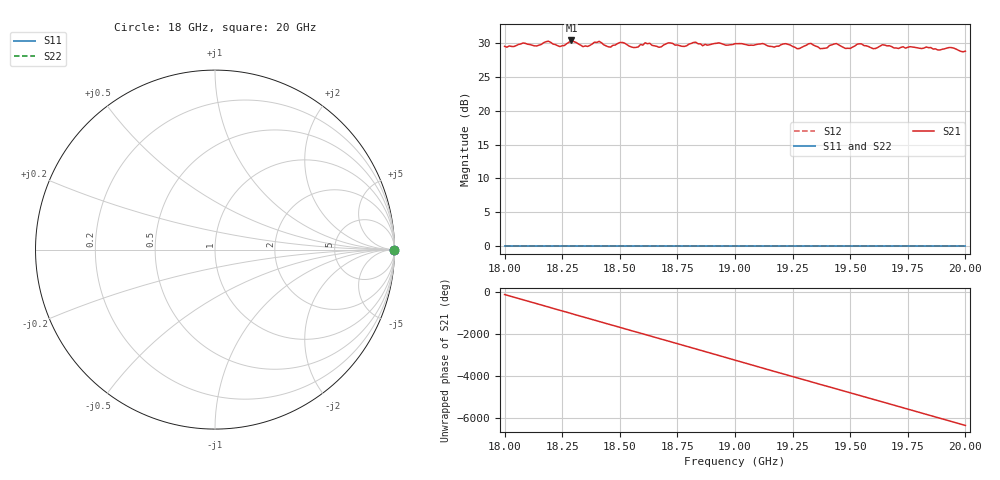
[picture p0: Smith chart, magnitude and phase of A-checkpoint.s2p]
!Agilent N9918A: A.07.57
!Date: Wednesday, 05 August 2020 17:34:18
!Timezone: (GMT-08:00) Pacific Time (US & Canada)
!Model: N9918A
!Serial: MY53103598
!GPS Latitude:
!GPS Longitude:
!GPS TimeStamp: 0001-01-01 00:00:00Z
!GPS Seconds Since Last Read: 0
!CHECKSUM:0372644096
!Correction: S11()S21(Rdy)S12()S22()
!S2P File: Measurements:S11,S21,S12,S22:
# Hz S DB R 50
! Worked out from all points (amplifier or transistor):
!   201 points, 18 GHz to 20 GHz, reference 50 ohm
!   highest |S21| = 30.4 dB at 18.29 GHz (marker M1)
!   |S21| within 3 dB of that: start of sweep to end of sweep
!   unconditionally stable (mu >= 1): nowhere
!   at 18.33 GHz: K = 14.86, MSG = 14.8 dB, |S12| = 0.0 dB
!   at 19 GHz: K = 14.65, MSG = 15.0 dB, |S12| = 0.0 dB
!   at 20 GHz: K = 13.91, MSG = 14.4 dB, |S12| = 0.0 dB
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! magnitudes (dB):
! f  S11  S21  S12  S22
! 18 GHz  0.0  29.5  0.0  0.0
! 18.19 GHz  0.0  30.3  0.0  0.0
! 18.24 GHz  0.0  29.5  0.0  0.0
! 18.29 GHz  0.0  30.4  0.0  0.0
! 18.34 GHz  0.0  29.5  0.0  0.0
! 18.41 GHz  0.0  30.2  0.0  0.0
! 18.46 GHz  0.0  29.4  0.0  0.0
! 18.51 GHz  0.0  30.1  0.0  0.0
! 18.56 GHz  0.0  29.3  0.0  0.0
! 18.67 GHz  0.0  29.4  0.0  0.0
! 18.71 GHz  0.0  30.0  0.0  0.0
! 19 GHz  0.0  29.9  0.0  0.0
! 19.22 GHz  0.0  29.9  0.0  0.0
! 19.27 GHz  0.0  29.1  0.0  0.0
! 19.34 GHz  0.0  29.7  0.0  0.0
! 19.37 GHz  0.0  29.2  0.0  0.0
! 19.44 GHz  0.0  29.9  0.0  0.0
! 19.48 GHz  0.0  29.2  0.0  0.0
! 19.54 GHz  0.0  29.9  0.0  0.0
! 19.6 GHz  0.0  29.2  0.0  0.0
! 19.67 GHz  0.0  29.6  0.0  0.0
! 20 GHz  0.0  28.8  0.0  0.0
